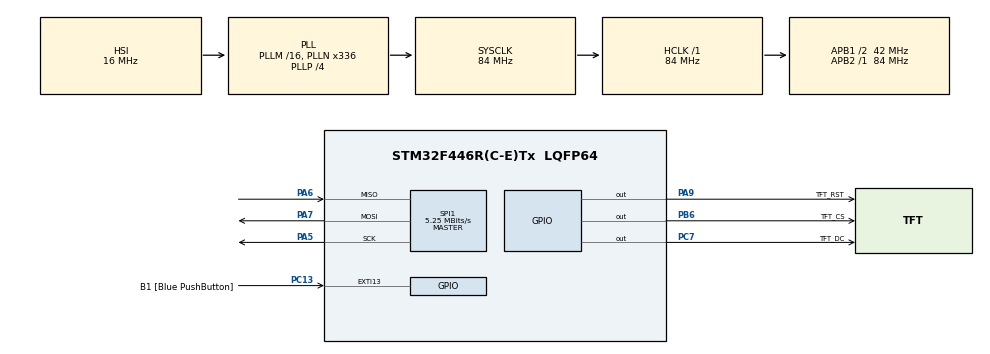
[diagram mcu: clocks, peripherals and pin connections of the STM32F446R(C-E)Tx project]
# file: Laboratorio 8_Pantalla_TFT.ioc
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Mcu.Family=STM32F4
Mcu.Name=STM32F446R(C-E)Tx
Mcu.Package=LQFP64
NVIC.PriorityGroup=NVIC_PRIORITYGROUP_0
PA13.GPIO_Label=TMS
PA13.Signal=SYS_JTMS-SWDIO
PA14.GPIO_Label=TCK
PA14.Signal=SYS_JTCK-SWCLK
PA2.GPIO_Label=USART_TX
PA2.Signal=USART2_TX
PA3.GPIO_Label=USART_RX
PA3.Signal=USART2_RX
PA5.Mode=Full_Duplex_Master
PA5.Signal=SPI1_SCK
PA6.Mode=Full_Duplex_Master
PA6.Signal=SPI1_MISO
PA7.Mode=Full_Duplex_Master
PA7.Signal=SPI1_MOSI
PA9.GPIO_Label=TFT_RST
PA9.PinState=GPIO_PIN_SET
PA9.Signal=GPIO_Output
PB3.GPIO_Label=SWO
PB3.Signal=SYS_JTDO-SWO
PB6.GPIO_Label=TFT_CS
PB6.PinState=GPIO_PIN_SET
PB6.Signal=GPIO_Output
PC13.GPIO_Label=B1 [Blue PushButton]
PC13.GPIO_ModeDefaultEXTI=GPIO_MODE_IT_FALLING
PC13.Signal=GPXTI13
PC14-OSC32_IN.Signal=RCC_OSC32_IN
PC15-OSC32_OUT.Signal=RCC_OSC32_OUT
PC7.GPIO_Label=TFT_DC
PC7.PinState=GPIO_PIN_SET
PC7.Signal=GPIO_Output
PH0-OSC_IN.Signal=RCC_OSC_IN
PH1-OSC_OUT.Signal=RCC_OSC_OUT
ProjectManager.HeapSize=0x200
ProjectManager.StackSize=0x400
ProjectManager.TargetToolchain=STM32CubeIDE
RCC.AHBFreq_Value=84000000
RCC.APB1CLKDivider=RCC_HCLK_DIV2
RCC.APB1Freq_Value=42000000
RCC.APB1TimFreq_Value=84000000
RCC.APB2Freq_Value=84000000
RCC.APB2TimFreq_Value=84000000
RCC.CortexFreq_Value=84000000
RCC.FLatency-AdvancedSettings=FLASH_LATENCY_2
RCC.HCLKFreq_Value=84000000
RCC.HSE_VALUE=8000000
RCC.HSI_VALUE=16000000
RCC.LSE_VALUE=32768
RCC.PLLN=336
RCC.PLLP=RCC_PLLP_DIV4
RCC.SYSCLKFreq_VALUE=84000000
RCC.SYSCLKSource=RCC_SYSCLKSOURCE_PLLCLK
RCC.USBFreq_Value=168000000
RCC.VCOOutputFreq_Value=336000000
SPI1.BaudRatePrescaler=SPI_BAUDRATEPRESCALER_16
SPI1.CalculateBaudRate=5.25 MBits/s
SPI1.Direction=SPI_DIRECTION_2LINES
SPI1.Mode=SPI_MODE_MASTER
SPI1.VirtualType=VM_MASTER
board=NUCLEO-F446RE

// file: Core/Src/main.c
/* USER CODE BEGIN Header */
/**
  ******************************************************************************
  * @file           : main.c
  * @brief          : Main program body
  ******************************************************************************
  * @attention
  *
  * Copyright (c) 2026 STMicroelectronics.
  * All rights reserved.
  *
  * This software is licensed under terms that can be found in the LICENSE file
  * in the root directory of this software component.
  * If no LICENSE file comes with this software, it is provided AS-IS.
  *
  *
  * Universidad del Valle de Guatemala
 * BE3029 - Electronica Digital 2
 * Laboratorio 8 - Pantalla TFT
 *
 *
  ******************************************************************************
  */
/* USER CODE END Header */
#include "main.h"

/* USER CODE BEGIN Includes */

//  Incluye el archivo doctora.h, que contiene la imagen de la doctora convertida a un arreglo de pixeles RGB565
#include "doctora.h"

/* USER CODE END Includes */

/* USER CODE BEGIN PD */

//-----------------------------------------------------------------------------------
//                  TAMANO DE PANTALLA Y COLORES
//-----------------------------------------------------------------------------------
// DIMENSIONES DE LA PANTALLA HORIZONTAL 320 x 240 pixeles
#define TFT_WIDTH  320 //columnas
#define TFT_HEIGHT 240 //filas

// Colores RGB565

//Blanco: fondo principal de la interfaz
#define COLOR_BLANCO      0xFFFF

// Negro:  textos y elementos oscuros
#define COLOR_NEGRO       0x0000

// Azul: encabezado y barra inferior del monitor
#define COLOR_AZUL        0x1C9F

//Azul oscuro: textos y detalles dentro de los cuadros
#define COLOR_AZUL_OSCURO 0x11B3

// Rosado: frecuencia cardiaca, corazon y onda ECG
#define COLOR_ROSADO      0xF38E

// Celeste: frecuencia respiratoria e icono de pulmones.
#define COLOR_CELESTE     0x2DDF

// Amarillo: cuadro e indicador de temperatura corporal
#define COLOR_AMARILLO    0xFE40

// Gris: fondo del indicador de temperatura
#define COLOR_GRIS        0xDEFB

// COLORES DE FONDO PARA LOS CUADROS

// Colores claros para el interior de los cuadros
#define FONDO_ROSADO      0xFF3A

// Fondo del cuadro de frecuencia respiratoria
#define FONDO_CELESTE     0xE71F

// Fondo del cuadro de temperatura corporal
#define FONDO_AMARILLO    0xFFF5

/* USER CODE END PD */

SPI_HandleTypeDef hspi1;

void SystemClock_Config(void);
static void MX_GPIO_Init(void);
static void MX_SPI1_Init(void);

/* USER CODE BEGIN 0 */

// Enviar comando al controlador ILI9341
// 8 bits - SPI
void TFT_WriteCommand(uint8_t cmd)
{
	// DC = 0: indicar que se enviara un comando
    HAL_GPIO_WritePin(TFT_DC_GPIO_Port, TFT_DC_Pin, GPIO_PIN_RESET);

       // CS = 0: seleccionar la pantalla TFT
    HAL_GPIO_WritePin(TFT_CS_GPIO_Port, TFT_CS_Pin, GPIO_PIN_RESET);

    // Enviar un comando de 1 byte mediante SPI1
    HAL_SPI_Transmit(&hspi1, &cmd, 1, HAL_MAX_DELAY);

    // CS = 1: finalizar la comunicacion

    HAL_GPIO_WritePin(TFT_CS_GPIO_Port, TFT_CS_Pin, GPIO_PIN_SET);
}

// Permite enviar datos mediante SPI1.

void TFT_WriteData(uint8_t *data, uint16_t size)
{
    // DC en alto: indica que se transmitiran datos y no comandos
    HAL_GPIO_WritePin(TFT_DC_GPIO_Port, TFT_DC_Pin, GPIO_PIN_SET);

    // CS en bajo: habilita la comunicacion con la pantalla TFT
    HAL_GPIO_WritePin(TFT_CS_GPIO_Port, TFT_CS_Pin, GPIO_PIN_RESET);

    // Transmite size bytes del arreglo data mediante SPI1
    HAL_SPI_Transmit(&hspi1, data, size, HAL_MAX_DELAY);

    // CS en alto: deselecciona la pantalla al finalizar el envio
    HAL_GPIO_WritePin(TFT_CS_GPIO_Port, TFT_CS_Pin, GPIO_PIN_SET);
}

// Inicializar la pantalla en horizontal
void TFT_Init(void)
{

    // RST = 0: inicia el reinicio fisico del controlador
    HAL_GPIO_WritePin(TFT_RST_GPIO_Port, TFT_RST_Pin, GPIO_PIN_RESET);
    // Mantiene el reinicio durante 20 milisegundos
    HAL_Delay(20);

    // RST = 1: libera el controlador del estado de reinicio
    HAL_GPIO_WritePin(TFT_RST_GPIO_Port, TFT_RST_Pin, GPIO_PIN_SET);
    // Espera 150 ms para permitir la estabilizacion
    HAL_Delay(150);

    // Comando 0x01: realiza un reinicio por software
    TFT_WriteCommand(0x01);
    HAL_Delay(150);

    // Variable de 8 bits para enviar valores de configuracion
    uint8_t data;

    // COMANDO 0x3A: configura el formato de los pixeles
    TFT_WriteCommand(0x3A);
    // 0x55: selecciona RGB565, con 16 bits por pixel
    data = 0x55;
    // Envia el valor de configuracion (1 byte)
    TFT_WriteData(&data, 1);

    // COMANDO 0x36: configura la direccion de memoria
    TFT_WriteCommand(0x36);
    data = 0x28; //orientacion horizontal
    TFT_WriteData(&data, 1);

    // Activar pantalla
    TFT_WriteCommand(0x11);
    // Espera 120 ms antes de encender la visualizacion
    HAL_Delay(120);

    TFT_WriteCommand(0x29);
    // Espera 20 ms para finalizar la inicializacion
    HAL_Delay(20);
}

// Area de dibujo
void TFT_SetAddress(uint16_t x0, uint16_t y0, //  x0, y0: posicion inicial del area.

                    uint16_t x1, uint16_t y1)  //x1, y1: posicion final del area.
{
    // Arreglo para almacenar las coordenadas en 4 bytes
    uint8_t data[4];

    // Seleccionar columnas
    TFT_WriteCommand(0x2A);

    // Separar la coordenada inicial X en byte alto y bajo
    data[0] = x0 >> 8;
    data[1] = x0 & 0xFF;

    // Separar la coordenada final X en byte alto y bajo
    data[2] = x1 >> 8;
    data[3] = x1 & 0xFF;

    // Enviar los 4 bytes de las coordenadas X por SPI
    TFT_WriteData(data, 4);

    // Seleccionar filas
    TFT_WriteCommand(0x2B);

    data[0] = y0 >> 8;
    data[1] = y0 & 0xFF;
    data[2] = y1 >> 8;
    data[3] = y1 & 0xFF;

    TFT_WriteData(data, 4);

    // Iniciar escritura de pixeles
    TFT_WriteCommand(0x2C);
}

// Pintar toda la pantalla de un color
void TFT_FillScreen(uint16_t color)
{

    // Reservar memoria para una fila de 320 pixeles (640 bytes)
    uint8_t buffer[TFT_WIDTH * 2];

    // Recorrer los pixeles de una fila para asignarles el color
    for (uint16_t i = 0; i < TFT_WIDTH; i++)
    {
        buffer[i * 2] = color >> 8;
        buffer[i * 2 + 1] = color & 0xFF;
    }

    // Seleccionar toda la pantalla, desde (0,0) hasta (319,239)

    TFT_SetAddress(0, 0, TFT_WIDTH - 1, TFT_HEIGHT - 1);

    // DC = 1: indicar que se enviaran datos de pixeles

    HAL_GPIO_WritePin(TFT_DC_GPIO_Port, TFT_DC_Pin, GPIO_PIN_SET);

    // CS = 0: seleccionar la pantalla TFT para la transmision

    HAL_GPIO_WritePin(TFT_CS_GPIO_Port, TFT_CS_Pin, GPIO_PIN_RESET);

    // Recorrer las 240 filas de la pantalla
    for (uint16_t y = 0; y < TFT_HEIGHT; y++)
    {
        // Enviar los 640 bytes de la fila mediante SPI1
        HAL_SPI_Transmit(&hspi1, buffer,
                         sizeof(buffer), HAL_MAX_DELAY);
    }

    // CS = 1: finalizar la comunicacion con la pantalla
    HAL_GPIO_WritePin(TFT_CS_GPIO_Port, TFT_CS_Pin, GPIO_PIN_SET);
}

// Mostrar una imagen RGB565
void TFT_DrawImage(uint16_t x, uint16_t y,
                   uint16_t ancho, uint16_t alto,
                   const uint8_t *imagen)
{

    // Verificar que las dimensiones sean validas y que la imagen no sobrepase los limites de 320 x 240 pixeles

    if (ancho == 0 || alto == 0 ||
        (uint32_t)x + ancho > TFT_WIDTH ||
        (uint32_t)y + alto > TFT_HEIGHT)
    {
        // Salir de la funcion si la imagen no cabe en pantalla

        return;
    }
    // Seleccionar el area de la pantalla donde se dibujara,  Se resta 1 porque las coordenadas comienzan desde cero

    TFT_SetAddress(x, y, x + ancho - 1, y + alto - 1);

    // DC = 1: indicar que se enviaran datos de pixeles

    HAL_GPIO_WritePin(TFT_DC_GPIO_Port, TFT_DC_Pin, GPIO_PIN_SET);

    // CS = 0: seleccionar la pantalla para transmitir datos

    HAL_GPIO_WritePin(TFT_CS_GPIO_Port, TFT_CS_Pin, GPIO_PIN_RESET);

    for (uint16_t fila = 0; fila < alto; fila++)
    {
        HAL_SPI_Transmit(
            &hspi1,
            (uint8_t *)&imagen[(uint32_t)fila * ancho * 2],
            ancho * 2,
            // Esperar hasta completar la transmision
            HAL_MAX_DELAY
        );
    }

    // CS = 1: finalizar la comunicacion con la pantalla

    HAL_GPIO_WritePin(TFT_CS_GPIO_Port, TFT_CS_Pin, GPIO_PIN_SET);
}

// Dibujar un rectangulo
void TFT_FillRect(uint16_t x, uint16_t y,
                  uint16_t ancho, uint16_t alto,
                  uint16_t color)
{
    // Verificar que el inicio este dentro de la pantalla  y que las dimensiones del rectangulo sean validas

    if (x >= TFT_WIDTH || y >= TFT_HEIGHT ||
        ancho == 0 || alto == 0)
    {
        // No dibujar si las coordenadas son invalidas

        return;
    }
    // Ajustar el ancho si supera el limite horizontal

    if (ancho > TFT_WIDTH - x)
        ancho = TFT_WIDTH - x;

    // Ajustar el alto si supera el limite vertical

    if (alto > TFT_HEIGHT - y)
        alto = TFT_HEIGHT - y;

    uint8_t buffer[TFT_WIDTH * 2];

    for (uint16_t i = 0; i < ancho; i++)
    {
        buffer[i * 2] = color >> 8;
        buffer[i * 2 + 1] = color & 0xFF;
    }

    TFT_SetAddress(x, y,
                   x + ancho - 1,
                   y + alto - 1);

    HAL_GPIO_WritePin(TFT_DC_GPIO_Port, TFT_DC_Pin, GPIO_PIN_SET);
    HAL_GPIO_WritePin(TFT_CS_GPIO_Port, TFT_CS_Pin, GPIO_PIN_RESET);

    for (uint16_t fila = 0; fila < alto; fila++)
    {
        HAL_SPI_Transmit(&hspi1, buffer,
                         ancho * 2, HAL_MAX_DELAY);
    }

    HAL_GPIO_WritePin(TFT_CS_GPIO_Port, TFT_CS_Pin, GPIO_PIN_SET);
}

// Dibujar un pixel
void TFT_DrawPixel(uint16_t x, uint16_t y, uint16_t color)
{
    if (x >= TFT_WIDTH || y >= TFT_HEIGHT)
        return;

    uint8_t pixel[2] = {color >> 8, color & 0xFF};

    TFT_SetAddress(x, y, x, y);

    HAL_GPIO_WritePin(TFT_DC_GPIO_Port, TFT_DC_Pin, GPIO_PIN_SET);
    HAL_GPIO_WritePin(TFT_CS_GPIO_Port, TFT_CS_Pin, GPIO_PIN_RESET);

    HAL_SPI_Transmit(&hspi1, pixel, 2, HAL_MAX_DELAY);

    HAL_GPIO_WritePin(TFT_CS_GPIO_Port, TFT_CS_Pin, GPIO_PIN_SET);
}

// Dibujar una linea entre dos puntos
void TFT_DrawLine(int x0, int y0,
                  int x1, int y1,
                  uint16_t color)
{
    // Calcular la distancia horizontal absoluta entre los puntos

    int dx = (x1 > x0) ? x1 - x0 : x0 - x1;

    // Definir la direccion horizontal: derecha (+1) o izquierda (-1)

    int sx = (x0 < x1) ? 1 : -1;

    // Calcular la distancia vertical con signo negativo

    int dy = (y1 > y0) ? y0 - y1 : y1 - y0;
    // Definir la direccion vertical: abajo (+1) o arriba (-1)

    int sy = (y0 < y1) ? 1 : -1;

    int error = dx + dy;

    // Repetir hasta alcanzar el punto final de la linea

    while (1)
    {
        // Verificar que las coordenadas esten dentro de la pantalla

        if (x0 >= 0 && y0 >= 0 &&
            x0 < TFT_WIDTH && y0 < TFT_HEIGHT)
        {
            TFT_DrawPixel((uint16_t)x0,
                          (uint16_t)y0, color);
        }

        // Finalizar cuando se alcance el punto final

        if (x0 == x1 && y0 == y1)
            break;

        // Duplicar el error para evaluar el siguiente movimiento

        int e2 = 2 * error;

        // Avanzar horizontalmente cuando el error lo indique

        if (e2 >= dy)
        {
            error += dy;
            x0 += sx;
        }

        // Avanzar verticalmente cuando el error lo indique

        if (e2 <= dx)
        {
            error += dx;
            y0 += sy;
        }
    }
}

// Onda de electrocardiograma
void TFT_DrawECGWave(uint16_t x, uint16_t y,
                     uint16_t color)
{
    // Arreglo de 10 puntos con coordenadas relativas (X, Y)

    const int puntos[][2] = {
        {0, 12}, {8, 12}, {13, 9},
        {18, 15}, {23, 12}, {28, 12},
        {33, 2}, {38, 23}, {43, 12},
        {52, 12}
    };

    // Unir los 10 puntos mediante 9 segmentos de linea

    for (int i = 0; i < 9; i++)
    {
        // Dibujar una linea entre el punto actual y los siguientes

        TFT_DrawLine(x + puntos[i][0],
                     y + puntos[i][1],
                     x + puntos[i + 1][0],
                     y + puntos[i + 1][1],
                     color);
    }
}

// Onda respiratoria con subidas y bajadas suaves
void TFT_DrawRespWave(uint16_t x, uint16_t y,
                      uint16_t color)
{
    const int puntos[][2] = {
        {0, 12}, {3, 9}, {6, 6}, {9, 3},
        {12, 2}, {15, 3}, {18, 6}, {21, 10},
        {24, 14}, {27, 18}, {30, 20},
        {33, 18}, {36, 14}, {39, 10},
        {42, 6}, {45, 3}, {48, 2},
        {51, 6}, {54, 12}
    };

    for (int i = 0; i < 18; i++)
    {
        TFT_DrawLine(x + puntos[i][0],
                     y + puntos[i][1],
                     x + puntos[i + 1][0],
                     y + puntos[i + 1][1],
                     color);
    }
}

// Fuente de letras de 5 x 7 pixeles
// Cada numero indica los pixeles encendidos de una fila

// Almacena los patrones necesarios para dibujar y letras, numeros y algunos simbolos en la TFT.
static const uint8_t fuente5x7[40][7] = {
	    // Letras del abecedario de A hasta Z
    {14,17,17,31,17,17,17}, // A
    {30,17,17,30,17,17,30}, // B
    {14,17,16,16,16,17,14}, // C
    {30,17,17,17,17,17,30}, // D
    {31,16,16,30,16,16,31}, // E
    {31,16,16,30,16,16,16}, // F
    {14,17,16,23,17,17,14}, // G
    {17,17,17,31,17,17,17}, // H
    {31,4,4,4,4,4,31},      // I
    {7,2,2,2,18,18,12},     // J
    {17,18,20,24,20,18,17},// K
    {16,16,16,16,16,16,31},// L
    {17,27,21,21,17,17,17},// M
    {17,25,21,19,17,17,17},// N
    {14,17,17,17,17,17,14},// O
    {30,17,17,30,16,16,16},// P
    {14,17,17,17,21,18,13},// Q
    {30,17,17,30,20,18,17},// R
    {15,16,16,14,1,1,30},  // S
    {31,4,4,4,4,4,4},       // T
    {17,17,17,17,17,17,14},// U
    {17,17,17,17,17,10,4}, // V
    {17,17,17,21,21,21,10},// W
    {17,17,10,4,10,17,17}, // X
    {17,17,10,4,4,4,4},    // Y
    {31,1,2,4,8,16,31},   // Z

    // 0-9
    {14,17,19,21,25,17,14}, // 0
    {4,12,4,4,4,4,14},      // 1
    {14,17,1,2,4,8,31},     // 2
    {30,1,1,14,1,1,30},     // 3
    {2,6,10,18,31,2,2},    // 4
    {31,16,16,30,1,1,30},  // 5
    {14,16,16,30,17,17,14},// 6
    {31,1,2,4,8,8,8},      // 7
    {14,17,17,14,17,17,14},// 8
    {14,17,17,15,1,1,14},  // 9

    // Caracteres especiales
    {0,0,0,0,0,0,0},       // Espacio
    {0,0,0,0,0,12,12},    // Punto
    {0,12,12,0,12,12,0},  // Dos puntos
    {0,0,0,31,0,0,0}      // Guion
};

//Busca el patron de pixeles correspondiente
//letra, numero o simbolo de la fuente 5x7.
const uint8_t *TFT_GetGlyph(char letra)
{
    // Caracteres disponibles en la fuente, en orden

    static const char caracteres[] =
        "ABCDEFGHIJKLMNOPQRSTUVWXYZ0123456789 .:-";

    // Convertir minusculas a mayusculas
    if (letra >= 'a' && letra <= 'z')
        letra = letra - 'a' + 'A';

    // Buscar el caracter dentro de las 40 posiciones

    for (uint8_t i = 0; i < 40; i++)
    {
        // Comparar el caracter solicitado con el actual

        if (caracteres[i] == letra)
            return fuente5x7[i];
    }

    // Caracter no reconocid -> espacio
    return fuente5x7[36];
}

// Dibujar una letra de la fuente 5x7
void TFT_DrawChar(uint16_t x, uint16_t y,
                  char letra, uint16_t color,
                  uint8_t escala)
{

    // Obtener el patron de la letra seleccionada

    const uint8_t *glifo = TFT_GetGlyph(letra);

    if (escala == 0)
        return;

    // Recorrer las 7 filas del caracter

    for (uint8_t fila = 0; fila < 7; fila++)
    {
        // Recorrer las 5 columnas de cada fila

        for (uint8_t columna = 0; columna < 5; columna++)
        {
            if (glifo[fila] & (1U << (4 - columna)))
            {
                // Dibujar el pixel mediante un rectangulo

                TFT_FillRect(
                    x + columna * escala,
                    y + fila * escala,
                    escala,
                    escala,
                    color
                );
            }
        }
    }
}

/* Escribir una cadena de texto */

//Permite escribir palabras y numeros en la pantalla

void TFT_DrawText(uint16_t x, uint16_t y,
                  const char *texto,
                  uint16_t color, uint8_t escala)
{
    while (*texto != '\0')
    {
        // Dibujar el caracter actual en la posicion indicada

        TFT_DrawChar(x, y, *texto, color, escala);

        // Avanzar a la siguiente letra
        x += 6 * escala;
        texto++;
    }
}

/* Dibujar la letra I con tilde */
void TFT_DrawIConTilde(uint16_t x, uint16_t y,
                       uint16_t color, uint8_t escala)
{
    // Dibujar la letra I
    TFT_DrawChar(x, y, 'I', color, escala);

    // Agregar el acento encima
    // Se utiliza un rectangulo de 2 x 1 pixeles escalados

    TFT_FillRect(x + 3 * escala,
                 y - 2 * escala,
                 2 * escala, escala, color);
}

/* Dibujar el simbolo de grados */
void TFT_DrawGrado(uint16_t x, uint16_t y,
                   uint16_t color, uint8_t escala)
{
    // Dibujar el borde superior del simbolo

    TFT_FillRect(x + escala, y,
                 3 * escala, escala, color);

    // Dibujar el borde izquierdo

    TFT_FillRect(x, y + escala,
                 escala, 2 * escala, color);

    // Dibujar el borde derecho

    TFT_FillRect(x + 4 * escala, y + escala,
                 escala, 2 * escala, color);

    // Dibujar el borde inferior para cerrar la figura

    TFT_FillRect(x + escala, y + 3 * escala,
                 3 * escala, escala, color);
}

// Dibujar un corazon sencillo con pixeles
void TFT_DrawHeart(uint16_t x, uint16_t y,
                   uint16_t color)
{

    // Patron de bits que representa la figura del corazon

    const uint16_t corazon[9] = {
        0x0CC6, 0x1FFE, 0x3FFF,
        0x3FFF, 0x1FFE, 0x0FFC,
        0x07F8, 0x03F0, 0x01E0
    };

    for (uint8_t fila = 0; fila < 9; fila++)
    {
        for (uint8_t col = 0; col < 14; col++)
        {
            if (corazon[fila] & (1U << (13 - col)))
            {

                // Dibujar un pixel en la posicion indicada

                TFT_FillRect(x + col, y + fila,
                             1, 1, color);
            }
        }
    }
}

// Dibujar un icono sencillo de pulmones
void TFT_DrawLungs(uint16_t x, uint16_t y,
                   uint16_t color)
{
    // Traquea
    TFT_FillRect(x + 13, y, 3, 10, color);

    // Pulmon izquierdo
    TFT_FillRect(x + 3, y + 8, 9, 13, color);
    TFT_FillRect(x + 5, y + 5, 7, 4, color);
    TFT_FillRect(x + 6, y + 20, 6, 3, color);

    // Pulmon derecho
    TFT_FillRect(x + 17, y + 8, 9, 13, color);
    TFT_FillRect(x + 17, y + 5, 7, 4, color);
    TFT_FillRect(x + 17, y + 20, 6, 3, color);
}

// Dibujar un termometro sencillo
void TFT_DrawThermometer(uint16_t x, uint16_t y)
{
    // Contorno
    TFT_FillRect(x + 7, y, 11, 29, COLOR_AZUL_OSCURO);

    // Interior blanco
    TFT_FillRect(x + 10, y + 3, 5, 25, COLOR_BLANCO);

    // Columna de temperatura
    TFT_FillRect(x + 11, y + 11, 3, 17, COLOR_ROSADO);

    // Bulbo inferior
    TFT_FillRect(x + 4, y + 26, 17, 12, COLOR_AZUL_OSCURO);
    TFT_FillRect(x + 7, y + 28, 11, 8, COLOR_ROSADO);
}
/* USER CODE END 0 */

int main(void)
{

  /* MCU Configuration--------------------------------------------------------*/

  /* Reset of all peripherals, Initializes the Flash interface and the Systick. */
  HAL_Init();

  /* Configure the system clock */
  SystemClock_Config();

  /* Initialize all configured peripherals */
  MX_GPIO_Init();
  MX_SPI1_Init();
  /* USER CODE BEGIN 2 */

  // Inicializar pantalla
  TFT_Init();

  // Fondo blanco
  TFT_FillScreen(COLOR_BLANCO);

  // ======================================
  // ENCABEZADO VITACHECK
  // ======================================

  // Barra superior azul
  TFT_FillRect(5, 5, 310, 38, COLOR_AZUL);

  // Cruz medica roja
  TFT_FillRect(20, 14, 8, 21, COLOR_ROSADO);
  TFT_FillRect(14, 20, 20, 8, COLOR_ROSADO);

  // Nombre del monitor
  TFT_DrawText(76, 9, "VITA",
               COLOR_BLANCO, 2);

  TFT_DrawText(124, 9, "CHECK",
               COLOR_ROSADO, 2);

  // Subtitulo
  TFT_DrawText(81, 29, "SIGNOS VITALES",
               COLOR_BLANCO, 1);

  // Fecha
  TFT_DrawText(275, 18, "2026",
               COLOR_BLANCO, 1);

  // ======================================
  // TRES CUADROS DE SIGNOS VITALES
  // ======================================

  // Cuadro 1: Frecuencia cardiaca
  TFT_FillRect(102, 48, 65, 132, COLOR_ROSADO);
  TFT_FillRect(105, 51, 59, 126, FONDO_ROSADO);

  // Cuadro 2: Frecuencia respiratoria
  TFT_FillRect(175, 48, 65, 132, COLOR_CELESTE);
  TFT_FillRect(178, 51, 59, 126, FONDO_CELESTE);

  // Cuadro 3: Temperatura corporal
  TFT_FillRect(248, 48, 67, 132, COLOR_AMARILLO);
  TFT_FillRect(251, 51, 61, 126, FONDO_AMARILLO);

  // ======================================
  // IMAGEN DE LA DOCTORA
  // ======================================

  TFT_DrawImage(5, 48,
                DOCTORA_WIDTH,
                DOCTORA_HEIGHT,
                doctora_rgb565);

  // ======================================
  // CUADRO 1: FRECUENCIA CARDIACA
  // ======================================

  // Titulo
  TFT_DrawText(119, 57, "FREC.",
               COLOR_AZUL_OSCURO, 1);
  // Escribir CARDÍACA con tilde
  TFT_DrawText(110, 68, "CARD",
               COLOR_AZUL_OSCURO, 1);

  TFT_DrawIConTilde(134, 68,
                     COLOR_AZUL_OSCURO, 1);

  TFT_DrawText(140, 68, "ACA",
               COLOR_AZUL_OSCURO, 1);

  // Icono de corazon
  TFT_DrawHeart(126, 86, COLOR_ROSADO);

  // Valor cardiaco
  TFT_DrawText(122, 112, "72",
               COLOR_AZUL_OSCURO, 2);

  // Unidad BPM
  TFT_DrawText(125, 133, "BPM",
               COLOR_AZUL_OSCURO, 1);

  // Onda cardiaca ECG
  TFT_DrawECGWave(109, 151, COLOR_ROSADO);

  // ======================================
  // CUADRO 2: FRECUENCIA RESPIRATORIA
  // ======================================

  // Titulo
  TFT_DrawText(192, 57, "FREC.",
               COLOR_AZUL_OSCURO, 1);

  TFT_DrawText(190, 68, "RESP.",
               COLOR_AZUL_OSCURO, 1);

  // Icono de pulmones
  TFT_DrawLungs(193, 84, COLOR_CELESTE);

  // Frecuencia respiratoria
  TFT_DrawText(195, 112, "16",
               COLOR_AZUL_OSCURO, 2);

  // Unidad rpm
  TFT_DrawText(198, 133, "rpm",
               COLOR_AZUL_OSCURO, 1);

  // Onda respiratoria
  TFT_DrawRespWave(180, 151, COLOR_CELESTE);

  // ======================================
  // CUADRO 3: TEMPERATURA CORPORAL
  // ======================================

  // Titulo
  TFT_DrawText(266, 57, "TEMP.",
               COLOR_AZUL_OSCURO, 1);

  TFT_DrawText(257, 68, "CORPORAL",
               COLOR_AZUL_OSCURO, 1);

  // Icono de termometro
  TFT_DrawThermometer(267, 82);

  // Temperatura
  TFT_DrawText(258, 124, "36.8",
               COLOR_AZUL_OSCURO, 2);

  // Mostrar grados Celsius
  TFT_DrawGrado(265, 143,
                COLOR_AZUL_OSCURO, 1);

  TFT_DrawText(271, 143, "C",
               COLOR_AZUL_OSCURO, 1);

  // Indicador de temperatura
  TFT_FillRect(257, 161, 50, 9, COLOR_GRIS);
  TFT_FillRect(259, 163, 32, 5, COLOR_AMARILLO);

  // ======================================
  // BARRA INFERIOR: ESTADO DEL PACIENTE
  // ======================================

  // Barra azul inferior
  TFT_FillRect(5, 190, 310, 38, COLOR_AZUL);

  // Corazon decorativo
  TFT_DrawHeart(22, 203, COLOR_ROSADO);

  // Estado del paciente
  TFT_DrawText(61, 198, "ESTADO:   PACIENTE ESTABLE ",
               COLOR_BLANCO, 1);

  // Eslogan de VitaCheck
      TFT_DrawText(72, 213, "CERCA DE TI, CUIDANDO TU SALUD",
                   COLOR_BLANCO, 1);
  /* USER CODE END 2 */

  /* Infinite loop */
  while (1)
  {

  }
}

void SystemClock_Config(void)
{
  RCC_OscInitTypeDef RCC_OscInitStruct = {0};
  RCC_ClkInitTypeDef RCC_ClkInitStruct = {0};

  /** Configure the main internal regulator output voltage
  */
  __HAL_RCC_PWR_CLK_ENABLE();
  __HAL_PWR_VOLTAGESCALING_CONFIG(PWR_REGULATOR_VOLTAGE_SCALE3);

  /** Initializes the RCC Oscillators according to the specified parameters
  * in the RCC_OscInitTypeDef structure.
  */
  RCC_OscInitStruct.OscillatorType = RCC_OSCILLATORTYPE_HSI;
  RCC_OscInitStruct.HSIState = RCC_HSI_ON;
  RCC_OscInitStruct.HSICalibrationValue = RCC_HSICALIBRATION_DEFAULT;
  RCC_OscInitStruct.PLL.PLLState = RCC_PLL_ON;
  RCC_OscInitStruct.PLL.PLLSource = RCC_PLLSOURCE_HSI;
  RCC_OscInitStruct.PLL.PLLM = 16;
  RCC_OscInitStruct.PLL.PLLN = 336;
  RCC_OscInitStruct.PLL.PLLP = RCC_PLLP_DIV4;
  RCC_OscInitStruct.PLL.PLLQ = 2;
  RCC_OscInitStruct.PLL.PLLR = 2;
  if (HAL_RCC_OscConfig(&RCC_OscInitStruct) != HAL_OK)
  {
    Error_Handler();
  }

  /** Initializes the CPU, AHB and APB buses clocks
  */
  RCC_ClkInitStruct.ClockType = RCC_CLOCKTYPE_HCLK|RCC_CLOCKTYPE_SYSCLK
                              |RCC_CLOCKTYPE_PCLK1|RCC_CLOCKTYPE_PCLK2;
  RCC_ClkInitStruct.SYSCLKSource = RCC_SYSCLKSOURCE_PLLCLK;
  RCC_ClkInitStruct.AHBCLKDivider = RCC_SYSCLK_DIV1;
  RCC_ClkInitStruct.APB1CLKDivider = RCC_HCLK_DIV2;
  RCC_ClkInitStruct.APB2CLKDivider = RCC_HCLK_DIV1;

  if (HAL_RCC_ClockConfig(&RCC_ClkInitStruct, FLASH_LATENCY_2) != HAL_OK)
  {
    Error_Handler();
  }
}

static void MX_SPI1_Init(void)
{

  /* SPI1 parameter configuration*/
  hspi1.Instance = SPI1;
  hspi1.Init.Mode = SPI_MODE_MASTER;
  hspi1.Init.Direction = SPI_DIRECTION_2LINES;
  hspi1.Init.DataSize = SPI_DATASIZE_8BIT;
  hspi1.Init.CLKPolarity = SPI_POLARITY_LOW;
  hspi1.Init.CLKPhase = SPI_PHASE_1EDGE;
  hspi1.Init.NSS = SPI_NSS_SOFT;
  hspi1.Init.BaudRatePrescaler = SPI_BAUDRATEPRESCALER_16;
  hspi1.Init.FirstBit = SPI_FIRSTBIT_MSB;
  hspi1.Init.TIMode = SPI_TIMODE_DISABLE;
  hspi1.Init.CRCCalculation = SPI_CRCCALCULATION_DISABLE;
  hspi1.Init.CRCPolynomial = 10;
  if (HAL_SPI_Init(&hspi1) != HAL_OK)
  {
    Error_Handler();
  }

}

static void MX_GPIO_Init(void)
{
  GPIO_InitTypeDef GPIO_InitStruct = {0};

  /* GPIO Ports Clock Enable */
  __HAL_RCC_GPIOC_CLK_ENABLE();
  __HAL_RCC_GPIOH_CLK_ENABLE();
  __HAL_RCC_GPIOA_CLK_ENABLE();
  __HAL_RCC_GPIOB_CLK_ENABLE();

  /*Configure GPIO pin Output Level */
  HAL_GPIO_WritePin(TFT_DC_GPIO_Port, TFT_DC_Pin, GPIO_PIN_SET);

  /*Configure GPIO pin Output Level */
  HAL_GPIO_WritePin(TFT_RST_GPIO_Port, TFT_RST_Pin, GPIO_PIN_SET);

  /*Configure GPIO pin Output Level */
  HAL_GPIO_WritePin(TFT_CS_GPIO_Port, TFT_CS_Pin, GPIO_PIN_SET);

  /*Configure GPIO pin : B1_Pin */
  GPIO_InitStruct.Pin = B1_Pin;
  GPIO_InitStruct.Mode = GPIO_MODE_IT_FALLING;
  GPIO_InitStruct.Pull = GPIO_NOPULL;
  HAL_GPIO_Init(B1_GPIO_Port, &GPIO_InitStruct);

  /*Configure GPIO pins : USART_TX_Pin USART_RX_Pin */
  GPIO_InitStruct.Pin = USART_TX_Pin|USART_RX_Pin;
  GPIO_InitStruct.Mode = GPIO_MODE_AF_PP;
  GPIO_InitStruct.Pull = GPIO_NOPULL;
  GPIO_InitStruct.Speed = GPIO_SPEED_FREQ_VERY_HIGH;
  GPIO_InitStruct.Alternate = GPIO_AF7_USART2;
  HAL_GPIO_Init(GPIOA, &GPIO_InitStruct);

  /*Configure GPIO pin : TFT_DC_Pin */
  GPIO_InitStruct.Pin = TFT_DC_Pin;
  GPIO_InitStruct.Mode = GPIO_MODE_OUTPUT_PP;
  GPIO_InitStruct.Pull = GPIO_NOPULL;
  GPIO_InitStruct.Speed = GPIO_SPEED_FREQ_LOW;
  HAL_GPIO_Init(TFT_DC_GPIO_Port, &GPIO_InitStruct);

  /*Configure GPIO pin : TFT_RST_Pin */
  GPIO_InitStruct.Pin = TFT_RST_Pin;
  GPIO_InitStruct.Mode = GPIO_MODE_OUTPUT_PP;
  GPIO_InitStruct.Pull = GPIO_NOPULL;
  GPIO_InitStruct.Speed = GPIO_SPEED_FREQ_LOW;
  HAL_GPIO_Init(TFT_RST_GPIO_Port, &GPIO_InitStruct);

  /*Configure GPIO pin : TFT_CS_Pin */
  GPIO_InitStruct.Pin = TFT_CS_Pin;
  GPIO_InitStruct.Mode = GPIO_MODE_OUTPUT_PP;
  GPIO_InitStruct.Pull = GPIO_NOPULL;
  GPIO_InitStruct.Speed = GPIO_SPEED_FREQ_LOW;
  HAL_GPIO_Init(TFT_CS_GPIO_Port, &GPIO_InitStruct);

}

void Error_Handler(void)
{
  __disable_irq();
  while (1)
  {
  }
}
